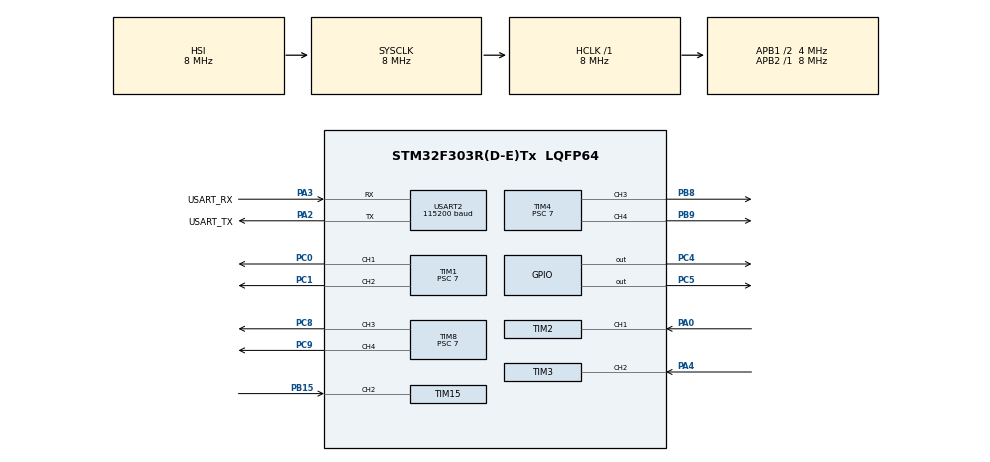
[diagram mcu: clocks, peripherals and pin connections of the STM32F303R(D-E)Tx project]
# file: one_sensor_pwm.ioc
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Mcu.Family=STM32F3
Mcu.Name=STM32F303R(D-E)Tx
Mcu.Package=LQFP64
NVIC.PriorityGroup=NVIC_PRIORITYGROUP_0
NVIC.TIM1_BRK_TIM15_IRQn=true\:0\:0\:false\:false\:true\:true\:true
NVIC.TIM2_IRQn=true\:0\:0\:false\:false\:true\:true\:true
NVIC.TIM3_IRQn=true\:0\:0\:false\:false\:true\:true\:true
PA0.Signal=S_TIM2_CH1_ETR
PA2.GPIO_Label=USART_TX
PA2.GPIO_Mode=GPIO_MODE_AF_PP
PA2.GPIO_PuPd=GPIO_NOPULL
PA2.GPIO_Speed=GPIO_SPEED_FREQ_LOW
PA2.Mode=Asynchronous
PA2.Signal=USART2_TX
PA3.GPIO_Label=USART_RX
PA3.GPIO_Mode=GPIO_MODE_AF_PP
PA3.GPIO_PuPd=GPIO_NOPULL
PA3.GPIO_Speed=GPIO_SPEED_FREQ_LOW
PA3.Mode=Asynchronous
PA3.Signal=USART2_RX
PA4.Signal=S_TIM3_CH2
PB15.Signal=S_TIM15_CH2
PB8.Signal=S_TIM4_CH3
PB9.Signal=S_TIM4_CH4
PC0.Signal=S_TIM1_CH1
PC1.Signal=S_TIM1_CH2
PC4.PinState=GPIO_PIN_RESET
PC4.Signal=GPIO_Output
PC5.PinState=GPIO_PIN_SET
PC5.Signal=GPIO_Output
PC8.Signal=S_TIM8_CH3
PC9.Signal=S_TIM8_CH4
ProjectManager.HeapSize=0x200
ProjectManager.StackSize=0x400
ProjectManager.TargetToolchain=TrueSTUDIO
RCC.AHBFreq_Value=8000000
RCC.APB1CLKDivider=RCC_HCLK_DIV2
RCC.APB1Freq_Value=4000000
RCC.APB1TimFreq_Value=8000000
RCC.APB2Freq_Value=8000000
RCC.APB2TimFreq_Value=8000000
RCC.CortexFreq_Value=8000000
RCC.HCLKFreq_Value=8000000
RCC.HSE_VALUE=8000000
RCC.HSI_VALUE=8000000
RCC.PLLM=8
RCC.PLLMUL=RCC_PLL_MUL9
RCC.PLLN=336
RCC.PLLP=RCC_PLLP_DIV4
RCC.PLLQ=7
RCC.RCC_PLLsource_Clock_Source_FROM_HSE=RCC_HSE_PREDIV_DIV2
RCC.SYSCLKFreq_VALUE=8000000
RCC.USBFreq_Value=72000000
SH.S_TIM15_CH2.0=TIM15_CH2,Input_Capture2_from_TI2
SH.S_TIM1_CH1.0=TIM1_CH1,PWM Generation1 CH1
SH.S_TIM1_CH2.0=TIM1_CH2,PWM Generation2 CH2
SH.S_TIM2_CH1_ETR.0=TIM2_CH1,Input_Capture1_from_TI1
SH.S_TIM3_CH2.0=TIM3_CH2,Input_Capture2_from_TI2
SH.S_TIM4_CH3.0=TIM4_CH3,PWM Generation3 CH3
SH.S_TIM4_CH4.0=TIM4_CH4,PWM Generation4 CH4
SH.S_TIM8_CH3.0=TIM8_CH3,PWM Generation3 CH3
SH.S_TIM8_CH4.0=TIM8_CH4,PWM Generation4 CH4
TIM1.Channel-PWM\ Generation1\ CH1=TIM_CHANNEL_1
TIM1.Channel-PWM\ Generation2\ CH2=TIM_CHANNEL_2
TIM1.Period=60000
TIM1.Prescaler=7
TIM1.Pulse-PWM\ Generation1\ CH1=10
TIM1.Pulse-PWM\ Generation2\ CH2=10
TIM15.Channel-Input_Capture2_from_TI2=TIM_CHANNEL_2
TIM15.ICPolarity_CH2=TIM_INPUTCHANNELPOLARITY_BOTHEDGE
TIM15.Period=0xffff
TIM15.Prescaler=7
TIM2.Channel-Input_Capture1_from_TI1=TIM_CHANNEL_1
TIM2.ICPolarity_CH1=TIM_INPUTCHANNELPOLARITY_BOTHEDGE
TIM2.Period=0xffff
TIM2.Prescaler=7
TIM3.Channel-Input_Capture2_from_TI2=TIM_CHANNEL_2
TIM3.ICPolarity_CH2=TIM_INPUTCHANNELPOLARITY_BOTHEDGE
TIM3.Period=0xffff
TIM3.Prescaler=7
TIM4.Channel-PWM\ Generation3\ CH3=TIM_CHANNEL_3
TIM4.Channel-PWM\ Generation4\ CH4=TIM_CHANNEL_4
TIM4.Period=100
TIM4.Prescaler=7
TIM8.Channel-PWM\ Generation3\ CH3=TIM_CHANNEL_3
TIM8.Channel-PWM\ Generation4\ CH4=TIM_CHANNEL_4
TIM8.Period=100
TIM8.Prescaler=7
USART2.BaudRate=115200
USART2.VirtualMode-Asynchronous=VM_ASYNC
board=NUCLEO-F303RE

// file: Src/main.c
/* USER CODE BEGIN Header */
/**
  ******************************************************************************
  * @file           : main.c
  * @brief          : Main program body
  ******************************************************************************
  * @attention
  *
  * <h2><center>&copy; Copyright (c) 2020 STMicroelectronics.
  * All rights reserved.</center></h2>
  *
  * This software component is licensed by ST under BSD 3-Clause license,
  * the "License"; You may not use this file except in compliance with the
  * License. You may obtain a copy of the License at:
  *                        opensource.org/licenses/BSD-3-Clause
  *
  ******************************************************************************
  */
/* USER CODE END Header */

#include "main.h"
#include "stm32f3xx_hal.h"

TIM_HandleTypeDef htim1;
TIM_HandleTypeDef htim2;
TIM_HandleTypeDef htim3;
TIM_HandleTypeDef htim4;
TIM_HandleTypeDef htim8;
TIM_HandleTypeDef htim15;

UART_HandleTypeDef huart2;
int cnt;
double left;
int cnt1;
double center;
int cnt2;
double right;
int integer;
int point;
int integer1;
int point1;
int integer2;
int point2;

int turnright;
int turnleft;

void SystemClock_Config(void);
static void MX_GPIO_Init(void);
static void MX_TIM1_Init(void);
static void MX_TIM15_Init(void);
static void MX_USART2_UART_Init(void);
static void MX_TIM2_Init(void);
static void MX_TIM3_Init(void);
static void MX_TIM4_Init(void);
static void MX_TIM8_Init(void);

/* USER CODE BEGIN 0 */

void HAL_TIM_IC_CaptureCallback(TIM_HandleTypeDef* htim){
	if(htim->Instance==TIM2){
			if(HAL_GPIO_ReadPin(GPIOA,GPIO_PIN_0)==1){
				__HAL_TIM_SET_COUNTER(&htim2,0);

			}else{
				cnt=__HAL_TIM_GET_COUNTER(&htim2);
				left=cnt/(double)58;
				integer=(int)left;
				point=(int)((left-integer)*100);
//				char tosend[20]={0};
//				sprintf(tosend,"%d.%02d\r\n",integer,point);
//				HAL_UART_Transmit(&huart2,"1:",2,0xFFFF);
//				HAL_UART_Transmit(&huart2,tosend,sizeof(tosend),0xffff);

			}
		}
		if(htim->Instance==TIM3){
				if(HAL_GPIO_ReadPin(GPIOA,GPIO_PIN_4)==1){
					__HAL_TIM_SET_COUNTER(&htim3,0);
				}else{
					cnt1=__HAL_TIM_GET_COUNTER(&htim3);
					center=cnt1/(double)58;
					integer1=(int)center;
					point1=(int)((center-integer1)*100);
//					char tosend1[20]={0};
//					sprintf(tosend1,"%d.%02d\r\n",integer1,point1);
//					HAL_UART_Transmit(&huart2,"2:",2,0xFFFF);
//					HAL_UART_Transmit(&huart2,tosend1,sizeof(tosend1),0xffff);

				}
			}
		if(htim->Instance==TIM15){
				if(HAL_GPIO_ReadPin(GPIOB,GPIO_PIN_15)==1){
					__HAL_TIM_SET_COUNTER(&htim15,0);
				}else{
					cnt2=__HAL_TIM_GET_COUNTER(&htim15);
					right=cnt2/(double)58;
					integer2=(int)right;
					point2=(int)((right-integer2)*100);
//					char tosend2[20]={0};
//					sprintf(tosend2,"%d.%02d\r\n",integer2,point2);
//					HAL_UART_Transmit(&huart2,"3:",2,0xFFFF);
//					HAL_UART_Transmit(&huart2,tosend2,sizeof(tosend2),0xffff);
				}
			}

//		/* _________
//		 * |  ______
//		 * |  |
//		 * |  |           => get out
//		 * |  |
//		 */
//		if(left<70 && center<100 && right>150){
//		    TIM8->CCR4=100;
//		    TIM8->CCR3=0;
//		    TIM4->CCR3=0;
//		    TIM4->CCR4=0;
//		    turnright=1;
//		    turnleft=0;
//		    //turn='r';
//		}
//
//		/* ____
//		 * |  |
//		 * |  |  => right
//		 * |  |
//		 */
//		if(center<50 && left+right <120){
//		    TIM8->CCR4=100;
//		    TIM8->CCR3=0;
//		    TIM4->CCR3=0;
//		    TIM4->CCR4=0;
//		    turnright=1;
//		    turnleft=0;
//		    //delay
//		    //turn='r';
//		}
//		else{
//
//			/* ____
//			 *    |
//			 *    |  => turn left
//			 *    |
//			 */
//		    if(right<30 && center<40){
//		        TIM8->CCR4=0;
//		        TIM8->CCR3=0;
//		        TIM4->CCR3=100;
//		        TIM4->CCR4=0;
//		        turnright=0;
//		        turnleft=1;
//		        //turn='l';
//		    }
//		    /*
//		     * |  |
//		     * |  |  => go straight
//		     * |  |
//		     */
//		    else{
//		        TIM8->CCR4=97;
//		        TIM8->CCR3=0;
//		        TIM4->CCR3=100;
//		        TIM4->CCR4=0;
//		    }
//		}
//
//
//		if(center<50){
//			 //right
//			TIM8->CCR4=100;
//			TIM8->CCR3=0;
//			TIM4->CCR3=0;
//			TIM4->CCR4=100; //reverse
//
//		}
//		else if(center < 50 && right<30){
//				//left
//				TIM8->CCR4=0;
//				TIM8->CCR3=100;
//				TIM4->CCR3=100;
//				TIM4->CCR4=0;
//		}
//		else if(center<110 && right > 200){
//				//right
//				TIM8->CCR4=100;
//				TIM8->CCR3=0;
//				TIM4->CCR3=0;
//				TIM4->CCR4=100;
//
//				HAL_Delay(5000);
//		}
//		else{
//			//straight
//			TIM8->CCR4=98;
//			TIM8->CCR3=0;
//			TIM4->CCR3=100;
//			TIM4->CCR4=0;
//
//		}

	//	char tosend3[20]={0};
		//==============Enter===============
		 if(center<50){
			//left
			 if(right<60 && left>30){
				 TIM8->CCR4=0;//left reverse
			     TIM8->CCR3=81; // 81
			     TIM4->CCR3=81; // 81
			     TIM4->CCR4=0;
			 }
			 //right
			 else{
			     TIM8->CCR4=90; //90
			     TIM8->CCR3=0;
			     TIM4->CCR3=0;
			     TIM4->CCR4=87; // 87 right reverse
			 }
		  }
		 //==============Exit =================
		  else if(left<70 && right>100){
		    //right
		    TIM8->CCR4=100;
		    TIM8->CCR3=0;
		    TIM4->CCR3=0;
		    TIM4->CCR4=100;
		  }
		  else if(right<70 && left>100){
			//left
			TIM8->CCR4=0;
			TIM8->CCR3=100;
			TIM4->CCR3=100;
			TIM4->CCR4=0;
		  }
		 //=============
		  else{
			  if((right + left) < 100){
				  if(right<35){ // 30
					   TIM8->CCR4=71; //left
					   TIM8->CCR3=0;
					   TIM4->CCR3=72;//right
					   TIM4->CCR4=0;
				  }

				  if(left<65){ // 50
					   TIM8->CCR4=72; // 75
					   TIM8->CCR3=0;
					   TIM4->CCR3=71;
					   TIM4->CCR4=0;
				  }
			  }
			   //straight
			   TIM8->CCR4=73; // 78
			   TIM8->CCR3=0;
			   TIM4->CCR3=75; //80
			   TIM4->CCR4=0;
		  }
}
/* USER CODE END 0 */

int main(void)

  {

  /* MCU Configuration--------------------------------------------------------*/

  /* Reset of all peripherals, Initializes the Flash interface and the Systick. */
  HAL_Init();

  /* Configure the system clock */
  SystemClock_Config();

  /* Initialize all configured peripherals */
  MX_GPIO_Init();
  MX_TIM1_Init();
  MX_TIM15_Init();
  MX_USART2_UART_Init();
  MX_TIM2_Init();
  MX_TIM3_Init();
  MX_TIM4_Init();
  MX_TIM8_Init();
  /* USER CODE BEGIN 2 */
  HAL_TIM_PWM_Start(&htim1,TIM_CHANNEL_1);
  HAL_TIM_IC_Start_IT(&htim2,TIM_CHANNEL_1);
  HAL_TIM_IC_Start_IT(&htim3,TIM_CHANNEL_2);
  HAL_TIM_IC_Start_IT(&htim15,TIM_CHANNEL_2);

  HAL_TIM_PWM_Start(&htim8,TIM_CHANNEL_4);
//  	  TIM8->CCR4=65;
  HAL_TIM_PWM_Start(&htim8,TIM_CHANNEL_3);
//  	  TIM8->CCR3=0;
  HAL_TIM_PWM_Start(&htim4,TIM_CHANNEL_3);
//  	  TIM4->CCR3=60;
  HAL_TIM_PWM_Start(&htim4,TIM_CHANNEL_4);
//  	  TIM4->CCR4=0;
  /* USER CODE END 2 */

  /* Infinite loop */
  while (1)
  {

  }
}

void SystemClock_Config(void)
{
  RCC_OscInitTypeDef RCC_OscInitStruct = {0};
  RCC_ClkInitTypeDef RCC_ClkInitStruct = {0};
  RCC_PeriphCLKInitTypeDef PeriphClkInit = {0};

  /** Initializes the CPU, AHB and APB busses clocks
  */
  RCC_OscInitStruct.OscillatorType = RCC_OSCILLATORTYPE_HSI;
  RCC_OscInitStruct.HSIState = RCC_HSI_ON;
  RCC_OscInitStruct.HSICalibrationValue = RCC_HSICALIBRATION_DEFAULT;
  RCC_OscInitStruct.PLL.PLLState = RCC_PLL_NONE;
  if (HAL_RCC_OscConfig(&RCC_OscInitStruct) != HAL_OK)
  {
    Error_Handler();
  }
  /** Initializes the CPU, AHB and APB busses clocks
  */
  RCC_ClkInitStruct.ClockType = RCC_CLOCKTYPE_HCLK|RCC_CLOCKTYPE_SYSCLK
                              |RCC_CLOCKTYPE_PCLK1|RCC_CLOCKTYPE_PCLK2;
  RCC_ClkInitStruct.SYSCLKSource = RCC_SYSCLKSOURCE_HSI;
  RCC_ClkInitStruct.AHBCLKDivider = RCC_SYSCLK_DIV1;
  RCC_ClkInitStruct.APB1CLKDivider = RCC_HCLK_DIV2;
  RCC_ClkInitStruct.APB2CLKDivider = RCC_HCLK_DIV1;

  if (HAL_RCC_ClockConfig(&RCC_ClkInitStruct, FLASH_LATENCY_0) != HAL_OK)
  {
    Error_Handler();
  }
  PeriphClkInit.PeriphClockSelection = RCC_PERIPHCLK_USART2|RCC_PERIPHCLK_TIM1
                              |RCC_PERIPHCLK_TIM15|RCC_PERIPHCLK_TIM8
                              |RCC_PERIPHCLK_TIM2|RCC_PERIPHCLK_TIM34;
  PeriphClkInit.Usart2ClockSelection = RCC_USART2CLKSOURCE_PCLK1;
  PeriphClkInit.Tim1ClockSelection = RCC_TIM1CLK_HCLK;
  PeriphClkInit.Tim15ClockSelection = RCC_TIM15CLK_HCLK;
  PeriphClkInit.Tim8ClockSelection = RCC_TIM8CLK_HCLK;
  PeriphClkInit.Tim2ClockSelection = RCC_TIM2CLK_HCLK;
  PeriphClkInit.Tim34ClockSelection = RCC_TIM34CLK_HCLK;
  if (HAL_RCCEx_PeriphCLKConfig(&PeriphClkInit) != HAL_OK)
  {
    Error_Handler();
  }
}

static void MX_TIM1_Init(void)
{

  TIM_MasterConfigTypeDef sMasterConfig = {0};
  TIM_OC_InitTypeDef sConfigOC = {0};
  TIM_BreakDeadTimeConfigTypeDef sBreakDeadTimeConfig = {0};

  htim1.Instance = TIM1;
  htim1.Init.Prescaler = 7;
  htim1.Init.CounterMode = TIM_COUNTERMODE_UP;
  htim1.Init.Period = 60000;
  htim1.Init.ClockDivision = TIM_CLOCKDIVISION_DIV1;
  htim1.Init.RepetitionCounter = 0;
  htim1.Init.AutoReloadPreload = TIM_AUTORELOAD_PRELOAD_DISABLE;
  if (HAL_TIM_PWM_Init(&htim1) != HAL_OK)
  {
    Error_Handler();
  }
  sMasterConfig.MasterOutputTrigger = TIM_TRGO_RESET;
  sMasterConfig.MasterOutputTrigger2 = TIM_TRGO2_RESET;
  sMasterConfig.MasterSlaveMode = TIM_MASTERSLAVEMODE_DISABLE;
  if (HAL_TIMEx_MasterConfigSynchronization(&htim1, &sMasterConfig) != HAL_OK)
  {
    Error_Handler();
  }
  sConfigOC.OCMode = TIM_OCMODE_PWM1;
  sConfigOC.Pulse = 10;
  sConfigOC.OCPolarity = TIM_OCPOLARITY_HIGH;
  sConfigOC.OCNPolarity = TIM_OCNPOLARITY_HIGH;
  sConfigOC.OCFastMode = TIM_OCFAST_DISABLE;
  sConfigOC.OCIdleState = TIM_OCIDLESTATE_RESET;
  sConfigOC.OCNIdleState = TIM_OCNIDLESTATE_RESET;
  if (HAL_TIM_PWM_ConfigChannel(&htim1, &sConfigOC, TIM_CHANNEL_1) != HAL_OK)
  {
    Error_Handler();
  }
  if (HAL_TIM_PWM_ConfigChannel(&htim1, &sConfigOC, TIM_CHANNEL_2) != HAL_OK)
  {
    Error_Handler();
  }
  sBreakDeadTimeConfig.OffStateRunMode = TIM_OSSR_DISABLE;
  sBreakDeadTimeConfig.OffStateIDLEMode = TIM_OSSI_DISABLE;
  sBreakDeadTimeConfig.LockLevel = TIM_LOCKLEVEL_OFF;
  sBreakDeadTimeConfig.DeadTime = 0;
  sBreakDeadTimeConfig.BreakState = TIM_BREAK_DISABLE;
  sBreakDeadTimeConfig.BreakPolarity = TIM_BREAKPOLARITY_HIGH;
  sBreakDeadTimeConfig.BreakFilter = 0;
  sBreakDeadTimeConfig.Break2State = TIM_BREAK2_DISABLE;
  sBreakDeadTimeConfig.Break2Polarity = TIM_BREAK2POLARITY_HIGH;
  sBreakDeadTimeConfig.Break2Filter = 0;
  sBreakDeadTimeConfig.AutomaticOutput = TIM_AUTOMATICOUTPUT_DISABLE;
  if (HAL_TIMEx_ConfigBreakDeadTime(&htim1, &sBreakDeadTimeConfig) != HAL_OK)
  {
    Error_Handler();
  }
  HAL_TIM_MspPostInit(&htim1);

}

static void MX_TIM2_Init(void)
{

  TIM_MasterConfigTypeDef sMasterConfig = {0};
  TIM_IC_InitTypeDef sConfigIC = {0};

  htim2.Instance = TIM2;
  htim2.Init.Prescaler = 7;
  htim2.Init.CounterMode = TIM_COUNTERMODE_UP;
  htim2.Init.Period = 0xffff;
  htim2.Init.ClockDivision = TIM_CLOCKDIVISION_DIV1;
  htim2.Init.AutoReloadPreload = TIM_AUTORELOAD_PRELOAD_DISABLE;
  if (HAL_TIM_IC_Init(&htim2) != HAL_OK)
  {
    Error_Handler();
  }
  sMasterConfig.MasterOutputTrigger = TIM_TRGO_RESET;
  sMasterConfig.MasterSlaveMode = TIM_MASTERSLAVEMODE_DISABLE;
  if (HAL_TIMEx_MasterConfigSynchronization(&htim2, &sMasterConfig) != HAL_OK)
  {
    Error_Handler();
  }
  sConfigIC.ICPolarity = TIM_INPUTCHANNELPOLARITY_BOTHEDGE;
  sConfigIC.ICSelection = TIM_ICSELECTION_DIRECTTI;
  sConfigIC.ICPrescaler = TIM_ICPSC_DIV1;
  sConfigIC.ICFilter = 0;
  if (HAL_TIM_IC_ConfigChannel(&htim2, &sConfigIC, TIM_CHANNEL_1) != HAL_OK)
  {
    Error_Handler();
  }

}

static void MX_TIM3_Init(void)
{

  TIM_MasterConfigTypeDef sMasterConfig = {0};
  TIM_IC_InitTypeDef sConfigIC = {0};

  htim3.Instance = TIM3;
  htim3.Init.Prescaler = 7;
  htim3.Init.CounterMode = TIM_COUNTERMODE_UP;
  htim3.Init.Period = 0xffff;
  htim3.Init.ClockDivision = TIM_CLOCKDIVISION_DIV1;
  htim3.Init.AutoReloadPreload = TIM_AUTORELOAD_PRELOAD_DISABLE;
  if (HAL_TIM_IC_Init(&htim3) != HAL_OK)
  {
    Error_Handler();
  }
  sMasterConfig.MasterOutputTrigger = TIM_TRGO_RESET;
  sMasterConfig.MasterSlaveMode = TIM_MASTERSLAVEMODE_DISABLE;
  if (HAL_TIMEx_MasterConfigSynchronization(&htim3, &sMasterConfig) != HAL_OK)
  {
    Error_Handler();
  }
  sConfigIC.ICPolarity = TIM_INPUTCHANNELPOLARITY_BOTHEDGE;
  sConfigIC.ICSelection = TIM_ICSELECTION_DIRECTTI;
  sConfigIC.ICPrescaler = TIM_ICPSC_DIV1;
  sConfigIC.ICFilter = 0;
  if (HAL_TIM_IC_ConfigChannel(&htim3, &sConfigIC, TIM_CHANNEL_2) != HAL_OK)
  {
    Error_Handler();
  }

}

static void MX_TIM4_Init(void)
{

  TIM_MasterConfigTypeDef sMasterConfig = {0};
  TIM_OC_InitTypeDef sConfigOC = {0};

  htim4.Instance = TIM4;
  htim4.Init.Prescaler = 7;
  htim4.Init.CounterMode = TIM_COUNTERMODE_UP;
  htim4.Init.Period = 100;
  htim4.Init.ClockDivision = TIM_CLOCKDIVISION_DIV1;
  htim4.Init.AutoReloadPreload = TIM_AUTORELOAD_PRELOAD_DISABLE;
  if (HAL_TIM_PWM_Init(&htim4) != HAL_OK)
  {
    Error_Handler();
  }
  sMasterConfig.MasterOutputTrigger = TIM_TRGO_RESET;
  sMasterConfig.MasterSlaveMode = TIM_MASTERSLAVEMODE_DISABLE;
  if (HAL_TIMEx_MasterConfigSynchronization(&htim4, &sMasterConfig) != HAL_OK)
  {
    Error_Handler();
  }
  sConfigOC.OCMode = TIM_OCMODE_PWM1;
  sConfigOC.Pulse = 0;
  sConfigOC.OCPolarity = TIM_OCPOLARITY_HIGH;
  sConfigOC.OCFastMode = TIM_OCFAST_DISABLE;
  if (HAL_TIM_PWM_ConfigChannel(&htim4, &sConfigOC, TIM_CHANNEL_3) != HAL_OK)
  {
    Error_Handler();
  }
  if (HAL_TIM_PWM_ConfigChannel(&htim4, &sConfigOC, TIM_CHANNEL_4) != HAL_OK)
  {
    Error_Handler();
  }
  HAL_TIM_MspPostInit(&htim4);

}

static void MX_TIM8_Init(void)
{

  TIM_MasterConfigTypeDef sMasterConfig = {0};
  TIM_OC_InitTypeDef sConfigOC = {0};
  TIM_BreakDeadTimeConfigTypeDef sBreakDeadTimeConfig = {0};

  htim8.Instance = TIM8;
  htim8.Init.Prescaler = 7;
  htim8.Init.CounterMode = TIM_COUNTERMODE_UP;
  htim8.Init.Period = 100;
  htim8.Init.ClockDivision = TIM_CLOCKDIVISION_DIV1;
  htim8.Init.RepetitionCounter = 0;
  htim8.Init.AutoReloadPreload = TIM_AUTORELOAD_PRELOAD_DISABLE;
  if (HAL_TIM_PWM_Init(&htim8) != HAL_OK)
  {
    Error_Handler();
  }
  sMasterConfig.MasterOutputTrigger = TIM_TRGO_RESET;
  sMasterConfig.MasterOutputTrigger2 = TIM_TRGO2_RESET;
  sMasterConfig.MasterSlaveMode = TIM_MASTERSLAVEMODE_DISABLE;
  if (HAL_TIMEx_MasterConfigSynchronization(&htim8, &sMasterConfig) != HAL_OK)
  {
    Error_Handler();
  }
  sConfigOC.OCMode = TIM_OCMODE_PWM1;
  sConfigOC.Pulse = 0;
  sConfigOC.OCPolarity = TIM_OCPOLARITY_HIGH;
  sConfigOC.OCNPolarity = TIM_OCNPOLARITY_HIGH;
  sConfigOC.OCFastMode = TIM_OCFAST_DISABLE;
  sConfigOC.OCIdleState = TIM_OCIDLESTATE_RESET;
  sConfigOC.OCNIdleState = TIM_OCNIDLESTATE_RESET;
  if (HAL_TIM_PWM_ConfigChannel(&htim8, &sConfigOC, TIM_CHANNEL_3) != HAL_OK)
  {
    Error_Handler();
  }
  if (HAL_TIM_PWM_ConfigChannel(&htim8, &sConfigOC, TIM_CHANNEL_4) != HAL_OK)
  {
    Error_Handler();
  }
  sBreakDeadTimeConfig.OffStateRunMode = TIM_OSSR_DISABLE;
  sBreakDeadTimeConfig.OffStateIDLEMode = TIM_OSSI_DISABLE;
  sBreakDeadTimeConfig.LockLevel = TIM_LOCKLEVEL_OFF;
  sBreakDeadTimeConfig.DeadTime = 0;
  sBreakDeadTimeConfig.BreakState = TIM_BREAK_DISABLE;
  sBreakDeadTimeConfig.BreakPolarity = TIM_BREAKPOLARITY_HIGH;
  sBreakDeadTimeConfig.BreakFilter = 0;
  sBreakDeadTimeConfig.Break2State = TIM_BREAK2_DISABLE;
  sBreakDeadTimeConfig.Break2Polarity = TIM_BREAK2POLARITY_HIGH;
  sBreakDeadTimeConfig.Break2Filter = 0;
  sBreakDeadTimeConfig.AutomaticOutput = TIM_AUTOMATICOUTPUT_DISABLE;
  if (HAL_TIMEx_ConfigBreakDeadTime(&htim8, &sBreakDeadTimeConfig) != HAL_OK)
  {
    Error_Handler();
  }
  HAL_TIM_MspPostInit(&htim8);

}

static void MX_TIM15_Init(void)
{

  TIM_MasterConfigTypeDef sMasterConfig = {0};
  TIM_IC_InitTypeDef sConfigIC = {0};

  htim15.Instance = TIM15;
  htim15.Init.Prescaler = 7;
  htim15.Init.CounterMode = TIM_COUNTERMODE_UP;
  htim15.Init.Period = 0xffff;
  htim15.Init.ClockDivision = TIM_CLOCKDIVISION_DIV1;
  htim15.Init.RepetitionCounter = 0;
  htim15.Init.AutoReloadPreload = TIM_AUTORELOAD_PRELOAD_DISABLE;
  if (HAL_TIM_IC_Init(&htim15) != HAL_OK)
  {
    Error_Handler();
  }
  sMasterConfig.MasterOutputTrigger = TIM_TRGO_RESET;
  sMasterConfig.MasterSlaveMode = TIM_MASTERSLAVEMODE_DISABLE;
  if (HAL_TIMEx_MasterConfigSynchronization(&htim15, &sMasterConfig) != HAL_OK)
  {
    Error_Handler();
  }
  sConfigIC.ICPolarity = TIM_INPUTCHANNELPOLARITY_BOTHEDGE;
  sConfigIC.ICSelection = TIM_ICSELECTION_DIRECTTI;
  sConfigIC.ICPrescaler = TIM_ICPSC_DIV1;
  sConfigIC.ICFilter = 0;
  if (HAL_TIM_IC_ConfigChannel(&htim15, &sConfigIC, TIM_CHANNEL_2) != HAL_OK)
  {
    Error_Handler();
  }

}

static void MX_USART2_UART_Init(void)
{

  huart2.Instance = USART2;
  huart2.Init.BaudRate = 115200;
  huart2.Init.WordLength = UART_WORDLENGTH_8B;
  huart2.Init.StopBits = UART_STOPBITS_1;
  huart2.Init.Parity = UART_PARITY_NONE;
  huart2.Init.Mode = UART_MODE_TX_RX;
  huart2.Init.HwFlowCtl = UART_HWCONTROL_NONE;
  huart2.Init.OverSampling = UART_OVERSAMPLING_16;
  huart2.Init.OneBitSampling = UART_ONE_BIT_SAMPLE_DISABLE;
  huart2.AdvancedInit.AdvFeatureInit = UART_ADVFEATURE_NO_INIT;
  if (HAL_UART_Init(&huart2) != HAL_OK)
  {
    Error_Handler();
  }

}

static void MX_GPIO_Init(void)
{
  GPIO_InitTypeDef GPIO_InitStruct = {0};

  /* GPIO Ports Clock Enable */
  __HAL_RCC_GPIOC_CLK_ENABLE();
  __HAL_RCC_GPIOA_CLK_ENABLE();
  __HAL_RCC_GPIOB_CLK_ENABLE();

  /*Configure GPIO pin Output Level */
  HAL_GPIO_WritePin(GPIOC, GPIO_PIN_4, GPIO_PIN_RESET);

  /*Configure GPIO pin Output Level */
  HAL_GPIO_WritePin(GPIOC, GPIO_PIN_5, GPIO_PIN_SET);

  /*Configure GPIO pins : PC4 PC5 */
  GPIO_InitStruct.Pin = GPIO_PIN_4|GPIO_PIN_5;
  GPIO_InitStruct.Mode = GPIO_MODE_OUTPUT_PP;
  GPIO_InitStruct.Pull = GPIO_NOPULL;
  GPIO_InitStruct.Speed = GPIO_SPEED_FREQ_LOW;
  HAL_GPIO_Init(GPIOC, &GPIO_InitStruct);

}

void Error_Handler(void)
{
}

/************************ (C) COPYRIGHT STMicroelectronics *****END OF FILE****/
